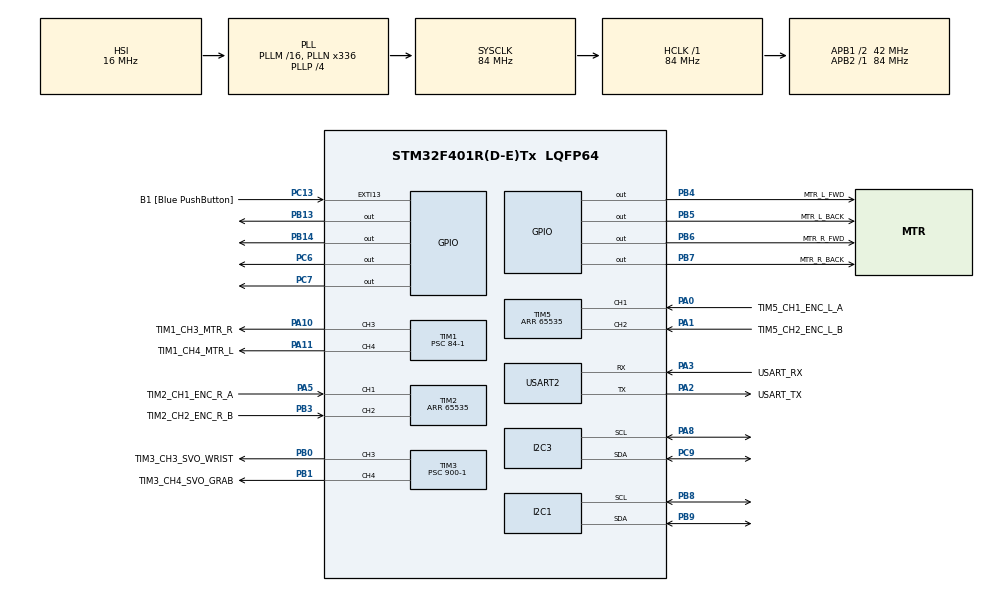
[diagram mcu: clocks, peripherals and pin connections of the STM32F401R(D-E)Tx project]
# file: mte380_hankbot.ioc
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Mcu.Family=STM32F4
Mcu.Name=STM32F401R(D-E)Tx
Mcu.Package=LQFP64
NVIC.PriorityGroup=NVIC_PRIORITYGROUP_0
PA0-WKUP.GPIO_Label=TIM5_CH1_ENC_L_A
PA0-WKUP.Signal=S_TIM5_CH1
PA1.GPIO_Label=TIM5_CH2_ENC_L_B
PA1.Signal=S_TIM5_CH2
PA10.GPIO_Label=TIM1_CH3_MTR_R
PA10.Signal=S_TIM1_CH3
PA11.GPIO_Label=TIM1_CH4_MTR_L
PA11.Signal=S_TIM1_CH4
PA13.GPIO_Label=TMS
PA13.Mode=Serial_Wire
PA13.Signal=SYS_JTMS-SWDIO
PA14.GPIO_Label=TCK
PA14.Mode=Serial_Wire
PA14.Signal=SYS_JTCK-SWCLK
PA2.GPIO_Label=USART_TX
PA2.GPIO_Mode=GPIO_MODE_AF_PP
PA2.GPIO_PuPd=GPIO_NOPULL
PA2.GPIO_Speed=GPIO_SPEED_FREQ_LOW
PA2.Mode=Asynchronous
PA2.Signal=USART2_TX
PA3.GPIO_Label=USART_RX
PA3.GPIO_Mode=GPIO_MODE_AF_PP
PA3.GPIO_PuPd=GPIO_NOPULL
PA3.GPIO_Speed=GPIO_SPEED_FREQ_LOW
PA3.Mode=Asynchronous
PA3.Signal=USART2_RX
PA5.GPIO_Label=TIM2_CH1_ENC_R_A
PA5.Signal=S_TIM2_CH1_ETR
PA8.Mode=I2C
PA8.Signal=I2C3_SCL
PB0.GPIO_Label=TIM3_CH3_SVO_WRIST
PB0.GPIO_ModeDefaultPP=GPIO_MODE_AF_PP
PB0.GPIO_PuPd=GPIO_NOPULL
PB0.GPIO_Speed=GPIO_SPEED_FREQ_LOW
PB0.Signal=S_TIM3_CH3
PB1.GPIO_Label=TIM3_CH4_SVO_GRAB
PB1.GPIO_ModeDefaultPP=GPIO_MODE_AF_PP
PB1.GPIO_PuPd=GPIO_NOPULL
PB1.GPIO_Speed=GPIO_SPEED_FREQ_LOW
PB1.Signal=S_TIM3_CH4
PB13.Signal=GPIO_Output
PB14.Signal=GPIO_Output
PB3.GPIO_Label=TIM2_CH2_ENC_R_B
PB3.Signal=S_TIM2_CH2
PB4.GPIO_Label=MTR_L_FWD
PB4.GPIO_PuPd=GPIO_PULLDOWN
PB4.Signal=GPIO_Output
PB5.GPIO_Label=MTR_L_BACK
PB5.GPIO_PuPd=GPIO_PULLDOWN
PB5.Signal=GPIO_Output
PB6.GPIO_Label=MTR_R_FWD
PB6.GPIO_PuPd=GPIO_PULLDOWN
PB6.Signal=GPIO_Output
PB7.GPIO_Label=MTR_R_BACK
PB7.GPIO_PuPd=GPIO_PULLDOWN
PB7.Signal=GPIO_Output
PB8.Mode=I2C
PB8.Signal=I2C1_SCL
PB9.Mode=I2C
PB9.Signal=I2C1_SDA
PC13-ANTI_TAMP.GPIO_Label=B1 [Blue PushButton]
PC13-ANTI_TAMP.GPIO_ModeDefaultEXTI=GPIO_MODE_IT_FALLING
PC13-ANTI_TAMP.GPIO_PuPd=GPIO_NOPULL
PC13-ANTI_TAMP.Signal=GPXTI13
PC14-OSC32_IN.Mode=LSE-External-Oscillator
PC14-OSC32_IN.Signal=RCC_OSC32_IN
PC15-OSC32_OUT.Mode=LSE-External-Oscillator
PC15-OSC32_OUT.Signal=RCC_OSC32_OUT
PC6.Signal=GPIO_Output
PC7.Signal=GPIO_Output
PC9.Mode=I2C
PC9.Signal=I2C3_SDA
PH0\ -\ OSC_IN.Mode=HSE-External-Clock-Source
PH0\ -\ OSC_IN.Signal=RCC_OSC_IN
PH1\ -\ OSC_OUT.Mode=HSE-External-Clock-Source
PH1\ -\ OSC_OUT.Signal=RCC_OSC_OUT
ProjectManager.HeapSize=0x200
ProjectManager.StackSize=0x400
ProjectManager.TargetToolchain=STM32CubeIDE
RCC.48MHZClocksFreq_Value=48000000
RCC.AHBFreq_Value=84000000
RCC.APB1CLKDivider=RCC_HCLK_DIV2
RCC.APB1Freq_Value=42000000
RCC.APB1TimFreq_Value=84000000
RCC.APB2Freq_Value=84000000
RCC.APB2TimFreq_Value=84000000
RCC.CortexFreq_Value=84000000
RCC.HCLKFreq_Value=84000000
RCC.HSE_VALUE=8000000
RCC.HSI_VALUE=16000000
RCC.PLLN=336
RCC.PLLP=RCC_PLLP_DIV4
RCC.PLLQ=7
RCC.SYSCLKFreq_VALUE=84000000
RCC.SYSCLKSource=RCC_SYSCLKSOURCE_PLLCLK
RCC.VCOOutputFreq_Value=336000000
SH.S_TIM1_CH3.0=TIM1_CH3,PWM Generation3 CH3
SH.S_TIM1_CH4.0=TIM1_CH4,PWM Generation4 CH4
SH.S_TIM2_CH1_ETR.0=TIM2_CH1,Encoder_Interface
SH.S_TIM2_CH2.0=TIM2_CH2,Encoder_Interface
SH.S_TIM3_CH3.0=TIM3_CH3,PWM Generation3 CH3
SH.S_TIM3_CH4.0=TIM3_CH4,PWM Generation4 CH4
SH.S_TIM5_CH1.0=TIM5_CH1,Encoder_Interface
SH.S_TIM5_CH2.0=TIM5_CH2,Encoder_Interface
TIM1.Channel-PWM\ Generation3\ CH3=TIM_CHANNEL_3
TIM1.Channel-PWM\ Generation4\ CH4=TIM_CHANNEL_4
TIM1.OCMode_PWM-PWM\ Generation4\ CH4=TIM_OCMODE_PWM1
TIM1.Period=20000
TIM1.Prescaler=84-1
TIM2.AutoReloadPreload=TIM_AUTORELOAD_PRELOAD_ENABLE
TIM2.EncoderMode=TIM_ENCODERMODE_TI12
TIM2.IC1Polarity=TIM_ICPOLARITY_RISING
TIM2.IC2Polarity=TIM_ICPOLARITY_RISING
TIM2.Period=65535
TIM3.Channel-PWM\ Generation3\ CH3=TIM_CHANNEL_3
TIM3.Channel-PWM\ Generation4\ CH4=TIM_CHANNEL_4
TIM3.Period=1000-1
TIM3.Prescaler=900-1
TIM3.Pulse-PWM\ Generation3\ CH3=0
TIM3.Pulse-PWM\ Generation4\ CH4=0
TIM5.AutoReloadPreload=TIM_AUTORELOAD_PRELOAD_ENABLE
TIM5.EncoderMode=TIM_ENCODERMODE_TI12
TIM5.IC1Filter=0
TIM5.Period=65535
USART2.VirtualMode=VM_ASYNC
VP_TIM1_VS_ClockSourceINT.Mode=Internal
board=NUCLEO-F401RE

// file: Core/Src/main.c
/* USER CODE BEGIN Header */
/**
  ******************************************************************************
  * @file           : main.c
  * @brief          : Main program body
  ******************************************************************************
  * @attention
  *
  * Copyright (c) 2023 STMicroelectronics.
  * All rights reserved.
  *
  * This software is licensed under terms that can be found in the LICENSE file
  * in the root directory of this software component.
  * If no LICENSE file comes with this software, it is provided AS-IS.
  *
  ******************************************************************************
  */
/* USER CODE END Header */
#include "main.h"
#include "i2c.h"
#include "tim.h"
#include "usart.h"
#include "gpio.h"

/* USER CODE BEGIN Includes */
#include "math.h"
#include "sparkfun_isl29125.h"
#include "servo.h"
#include "l298n_motor_control.h"
#include "encoder.h"
#include "pid.h"

#include <stdio.h>
#include <string.h>
/* USER CODE END Includes */

/* USER CODE BEGIN PD */
#define CURVATURE_DIST 1.55 // 1.6m
#define BACKING_DIST 0.03 // 0.03m or 3cm
/* USER CODE END PD */

/* USER CODE BEGIN PV */
char OutBuf[50];
/* USER CODE END PV */

void SystemClock_Config(void);

// deg - degrees to point-turn
// dir - 0 is CW, 1 is CCW
// speed - speed of rotation in RPM
void Rotate_degrees(uint16_t deg, uint8_t dir, uint16_t speed)
{
  HAL_GPIO_WritePin(GPIOB, GPIO_PIN_14, GPIO_PIN_SET); // Green LED
  // Store current position
  double initial_pose_L = Encoder_Get_Distance(&htim5);
  double initial_pose_R = Encoder_Get_Distance(&htim2);
  double delta_L = 0.0;
  double delta_R = 0.0;
  uint8_t rotate_L_done = 0;
  uint8_t rotate_R_done = 0;
  double rotate_tick_L = (double)WHEEL_CENTER_DIST * (double)M_PI * ((double)deg/360.0);
  double rotate_tick_R = (double)WHEEL_CENTER_DIST * (double)M_PI * ((double)deg/360.0);
  if (dir) { // CCW
    L298N_Motor_L_Control(&htim1, 1, speed);
    L298N_Motor_R_Control(&htim1, 0, speed);
  } else { // CW
    L298N_Motor_L_Control(&htim1, 0, speed);
    L298N_Motor_R_Control(&htim1, 1, speed);
  }
  do {
    delta_L = Encoder_Get_Distance(&htim5) - initial_pose_L;
    delta_R = Encoder_Get_Distance(&htim2) - initial_pose_R;
    rotate_L_done = fabs(delta_L) >= rotate_tick_L;
    rotate_R_done = fabs(delta_R) >= rotate_tick_R;
    if (rotate_L_done) L298N_Motor_L_Control(&htim1, 1, 0);
    if (rotate_R_done) L298N_Motor_R_Control(&htim1, 0, 0);
  } while(!(rotate_L_done && rotate_R_done));
  L298N_Motors_Stop(&htim1);
  HAL_GPIO_WritePin(GPIOB, GPIO_PIN_14, GPIO_PIN_SET); // Green LED
}

int main(void)
{
  /* USER CODE BEGIN 1 */

  // Sensor Data
  uint16_t color_data_L[3];
  uint16_t color_data_R[3];
  double encoder_dist_r;
  double encoder_dist_l;

  // Robot Data
  uint16_t speed = 0;
  uint16_t turning_speed = 0;
  uint8_t blue_detected_L = 0;
  uint8_t blue_detected_R = 0;
  uint8_t green_detected_L = 0;
  uint8_t green_detected_R = 0;
  uint8_t red_both_detected = 0;

  /* USER CODE END 1 */

  /* MCU Configuration--------------------------------------------------------*/

  /* Reset of all peripherals, Initializes the Flash interface and the Systick. */
  HAL_Init();

  /* Configure the system clock */
  SystemClock_Config();

  /* Initialize all configured peripherals */
  MX_GPIO_Init();
  MX_USART2_UART_Init();
  MX_I2C3_Init();
  MX_TIM3_Init();
  MX_I2C1_Init();
  MX_TIM1_Init();
  MX_TIM2_Init();
  MX_TIM5_Init();
  /* USER CODE BEGIN 2 */

  L298N_Init(&htim1);
  Servo_Init(&htim3);
  Encoder_Init(&htim5); // Left Motor Encoder
  Encoder_Init(&htim2); // Right Motor Encoder
  ISL29125_Init(&hi2c1); // Left RGB Sensor
  ISL29125_Init(&hi2c3); // Right RGB Sensor
  ISL29125_Config(&hi2c1, CFG1_MODE_RGB | CFG1_10KLUX | CFG1_12BIT, CFG2_IR_ADJUST_HIGH, CFG3_NO_INT);
  ISL29125_Config(&hi2c3, CFG1_MODE_RGB | CFG1_10KLUX | CFG1_12BIT, CFG2_IR_ADJUST_HIGH, CFG3_NO_INT);

  // LED Test & Code Execution Countdown
  HAL_GPIO_WritePin(GPIOC, GPIO_PIN_6, GPIO_PIN_SET); // Red LED
  HAL_GPIO_WritePin(GPIOC, GPIO_PIN_7, GPIO_PIN_SET); // Yellow LED
  HAL_GPIO_WritePin(GPIOB, GPIO_PIN_13, GPIO_PIN_SET); // Blue LED
  HAL_GPIO_WritePin(GPIOB, GPIO_PIN_14, GPIO_PIN_SET); // Green LED
  HAL_Delay(1000);
  HAL_GPIO_WritePin(GPIOC, GPIO_PIN_7, GPIO_PIN_RESET); // Yellow LED
  HAL_Delay(1000);
  HAL_GPIO_WritePin(GPIOC, GPIO_PIN_6, GPIO_PIN_RESET); // Red LED
  HAL_Delay(1000);
  HAL_GPIO_WritePin(GPIOB, GPIO_PIN_14, GPIO_PIN_RESET); // Green LED
  HAL_Delay(1000);
  HAL_GPIO_WritePin(GPIOB, GPIO_PIN_13, GPIO_PIN_RESET); // Blue LED

  // TEST: Color Sensor Readings
//  while(1)
//  {
//	  // Update sensor data
//	  color_data_L[0] = ISL29125_ReadRed(&hi2c1);
//	  color_data_L[1] = ISL29125_ReadBlue(&hi2c1);
//	  color_data_L[2] = ISL29125_ReadGreen(&hi2c1);
//	  color_data_R[0] = ISL29125_ReadRed(&hi2c3);
//	  color_data_R[1] = ISL29125_ReadBlue(&hi2c3);
//	  color_data_R[2] = ISL29125_ReadGreen(&hi2c3);
//	// Debug Printout
//	char buf[64];
//	sprintf(buf, "Left | Red: %d, Blue: %d, Green: %d | Right | Red: %d, Blue: %d, Green: %d |\r\n",
//	   color_data_L[0], color_data_L[1], color_data_L[2], color_data_R[0], color_data_R[1], color_data_R[2]);
//	HAL_UART_Transmit(&huart2, buf, strlen(buf), HAL_MAX_DELAY);
//  }
//

  // TEST: Turning
//    while(1)
//    {
//      Rotate_degrees(180, 0, 120);
//      HAL_Delay(1000);
//    }

  // *** State 1: Line Following Sequence ***
  while(!(blue_detected_L && blue_detected_R))
  {
    // Update sensor data
    color_data_L[0] = ISL29125_ReadRed(&hi2c1);
    color_data_L[1] = ISL29125_ReadBlue(&hi2c1);
    color_data_L[2] = ISL29125_ReadGreen(&hi2c1);
    color_data_R[0] = ISL29125_ReadRed(&hi2c3);
    color_data_R[1] = ISL29125_ReadBlue(&hi2c3);
    color_data_R[2] = ISL29125_ReadGreen(&hi2c3);
    encoder_dist_r = Encoder_Get_Distance(&htim2);
    encoder_dist_l = Encoder_Get_Distance(&htim5);

    // Check how far across curvature traveled.
    // Slow down at the end, indicated by Yellow LED
    if ((encoder_dist_r + encoder_dist_l)/2 > CURVATURE_DIST) {
      HAL_GPIO_WritePin(GPIOC, GPIO_PIN_7, GPIO_PIN_SET); // Yellow LED
      speed = 65;
      turning_speed = 65;
    } else {
      HAL_GPIO_WritePin(GPIOC, GPIO_PIN_7, GPIO_PIN_RESET); // Yellow LED
      speed = 85;
      turning_speed = 70;
    }

    // Debug Printout for Encoders
//    uint8_t MSG[50] = {'\0'};
//
//    sprintf(MSG, "TIM2 (Right) Distance = %f, TIM5 (Left) Distance = %f  | \r\n ", encoder_dist_r, encoder_dist_l);
//    HAL_UART_Transmit(&huart2, MSG, strlen(MSG), HAL_MAX_DELAY); // Print to UART Terminal

    // LEFT SENSOR Blue Bullseye Detection, indicated by Blue LED
    if (145 < color_data_L[1]) // Tigher threshold for left sensor due to bullseye location
    {
      blue_detected_L = 1;
      L298N_Motor_L_Control(&htim1, 0, 0);
      HAL_GPIO_WritePin(GPIOB, GPIO_PIN_13, GPIO_PIN_SET); // Blue LED
    }

    // RIGHT SENSOR Blue Bullseye Detection, indicated by Blue LED
    if (14 < color_data_R[0] && color_data_R[0] < 29
     && 60 < color_data_R[1] && color_data_R[1] < 90
     && 50 < color_data_R[2] && color_data_R[2] < 81)
    {
      blue_detected_R = 1;
      L298N_Motor_R_Control(&htim1, 0, 0);
      HAL_GPIO_WritePin(GPIOB, GPIO_PIN_13, GPIO_PIN_SET); // Blue LED
    }

    // Line Following, indicated by Red LED
    // LEFT SENSOR Red Tape Detection Experiemental Data, 12Bit Data:
    if (18 < color_data_L[0] && color_data_L[0] < 35  // Red: 18-35
     && 12 < color_data_L[1] && color_data_L[1] < 30  // Blue: 12-30
     && 14 < color_data_L[2] && color_data_L[2] < 45) // Green: 14-45
    {
      HAL_GPIO_WritePin(GPIOC, GPIO_PIN_6, GPIO_PIN_SET); // Red LED
      if(!blue_detected_L) L298N_Motor_L_Control(&htim1, 1, turning_speed-5);
      if(!blue_detected_R) L298N_Motor_R_Control(&htim1, 0, turning_speed);
    }
    // RIGHT SENSOR Red Tape Experiemental Detection Data, 12Bit Data:
    else if (32 < color_data_R[0] && color_data_R[0] < 54  // Red: 32-58
            && 16 < color_data_R[1] && color_data_R[1] < 45  // Blue: 16-50
            && 22 < color_data_R[2] && color_data_R[2] < 58) // Green: 22-70
    {
      HAL_GPIO_WritePin(GPIOC, GPIO_PIN_6, GPIO_PIN_SET); // Red LED
      if(!blue_detected_L) L298N_Motor_L_Control(&htim1, 0, turning_speed);
      if(!blue_detected_R) L298N_Motor_R_Control(&htim1, 1, turning_speed-5);
    }
    else {
      HAL_GPIO_WritePin(GPIOC, GPIO_PIN_6, GPIO_PIN_RESET); // Red LED
      if(!blue_detected_L) L298N_Motor_L_Control(&htim1, 0, speed);
      if(!blue_detected_R) L298N_Motor_R_Control(&htim1, 0, speed);
    }

    // Debug Printout for Color Sensors
//     char buf[64];
//     sprintf(buf, "Left | Red: %d, Blue: %d, Green: %d | Right | Red: %d, Blue: %d, Green: %d |\r\n",
//         color_data_L[0], color_data_L[1], color_data_L[2], color_data_R[0], color_data_R[1], color_data_R[2]);
//     HAL_UART_Transmit(&huart2, buf, strlen(buf), HAL_MAX_DELAY);

  }
  HAL_GPIO_WritePin(GPIOB, GPIO_PIN_13, GPIO_PIN_RESET); // Blue LED
  HAL_GPIO_WritePin(GPIOC, GPIO_PIN_7, GPIO_PIN_RESET); // Yellow LED

  // *** State 2-1: Pick up Sequence - Move out of bullseye ***
  speed = 70;
  L298N_Motor_L_Control(&htim1, 1, speed);
  L298N_Motor_R_Control(&htim1, 1, speed);
  // Start indicated by Green LED
  HAL_GPIO_WritePin(GPIOB, GPIO_PIN_14, GPIO_PIN_SET); // Green LED
  // Store current position
  double curr_pos = (Encoder_Get_Distance(&htim2) + Encoder_Get_Distance(&htim5))/2;
  double delta = 0.0;
  // Drive backwards for (BACKING_DIST) [m]
  while(delta < BACKING_DIST) {
    encoder_dist_r = Encoder_Get_Distance(&htim2);
    encoder_dist_l = Encoder_Get_Distance(&htim5);
    delta = curr_pos - (encoder_dist_r + encoder_dist_l)/2;
    L298N_Motor_L_Control(&htim1, 1, speed);
    L298N_Motor_R_Control(&htim1, 1, speed);
  }
  // Stop Motors
  L298N_Motors_Stop(&htim1);
  HAL_GPIO_WritePin(GPIOB, GPIO_PIN_14, GPIO_PIN_RESET); // Green LED

  // *** State 2-2: Pick up Sequence - Pick up Lego Man ***
  Servo_Claw_Open(&htim3);
  Servo_Wrist_Down(&htim3);
  HAL_Delay(100);
  Servo_Claw_Close(&htim3);
  HAL_Delay(400);
  Servo_Wrist_Up(&htim3);
  HAL_Delay(100);

  // *** State 3-1: Delivery Sequence - Rotate Robot in pre-determined path ***
  encoder_dist_r = Encoder_Get_Distance(&htim2);
  double backupTravel = 0;
  double backupDistance = 0.14;
  while(backupTravel < backupDistance)
  {
	  L298N_Motor_R_Control(&htim1, 1, 100);
	  L298N_Motor_L_Control(&htim1, 1, 100);
	  backupTravel = encoder_dist_r - Encoder_Get_Distance(&htim2);
  }
  L298N_Motors_Stop(&htim1);

  HAL_Delay(100);
  Rotate_degrees(40, 1, 100);

  // *** State 3-2: Delivery Sequence - Drive Straight until Green ***
  speed = 70;
  L298N_Motor_R_Control(&htim1, 0, speed);
  L298N_Motor_L_Control(&htim1, 0, speed);
  while(!(green_detected_L && green_detected_R))
  {
    // Update Color Sensors
    color_data_L[0] = ISL29125_ReadRed(&hi2c1);
    color_data_L[1] = ISL29125_ReadBlue(&hi2c1);
    color_data_L[2] = ISL29125_ReadGreen(&hi2c1);
    color_data_R[0] = ISL29125_ReadRed(&hi2c3);
    color_data_R[1] = ISL29125_ReadBlue(&hi2c3);
    color_data_R[2] = ISL29125_ReadGreen(&hi2c3);
    //Left Green Detection
    if(4 < color_data_L[0] && color_data_L[0] < 21 && // left red range is 5-20
      16 < color_data_L[1] && color_data_L[1] < 37 && // left blue range is 17-36
      17 < color_data_L[2] && color_data_L[2] < 41) // left green range is 18-40
    {
      L298N_Motor_L_Control(&htim1, 1, 0);
      green_detected_L = 1;
      HAL_GPIO_WritePin(GPIOB, GPIO_PIN_14, GPIO_PIN_SET); // Green LED
    }
    //Right Green Detection
    if(7 < color_data_R[0] && color_data_R[0] < 27 && // right red range is 8-26
      20 < color_data_R[1] && color_data_R[1] < 32 && //  right blue range is 21-31
      24 < color_data_R[2] && color_data_R[2] < 45) // right green range is 25-43
    {
      L298N_Motor_R_Control(&htim1, 1, 0);
      green_detected_R = 1;
      HAL_GPIO_WritePin(GPIOB, GPIO_PIN_14, GPIO_PIN_SET); // Green LED
    }
  }
  HAL_GPIO_WritePin(GPIOB, GPIO_PIN_14, GPIO_PIN_RESET); // Green LED

  // *** State 3-3: Delivery Sequence - Move backwards by Pre-determined Distance ***
  L298N_Motor_R_Control(&htim1, 1, 100);
  L298N_Motor_L_Control(&htim1, 1, 100);
  HAL_Delay(500);
  L298N_Motor_R_Control(&htim1, 1, 0);
  L298N_Motor_L_Control(&htim1, 1, 0);

  // *** State 3-4: Delivery Sequence - Unload Lego Man ***
  Servo_Wrist_Down(&htim3);
  Servo_Claw_Open(&htim3);
  HAL_Delay(500);
  Servo_Wrist_Up(&htim3);

  // *** State 4-1: Return Sequence - Move backwards & Rotate 180 ***
  L298N_Motor_R_Control(&htim1, 1, 70);
  L298N_Motor_L_Control(&htim1, 1, 70);
  HAL_Delay(500);
  Rotate_degrees(170, 0, 120);

  // *** State 4-2: Return Sequence - Line Following ***
  speed = 70;
  turning_speed = 80;
  red_both_detected = 0;
  double initialTravel = Encoder_Get_Distance(&htim2);
  double currentTravel = 0;
  double minDistanceTraveled = 1.0;
  uint8_t first_left_red_detect = 0;

  while(!red_both_detected)
  {
    // Update sensor data
    color_data_L[0] = ISL29125_ReadRed(&hi2c1);
    color_data_L[1] = ISL29125_ReadBlue(&hi2c1);
    color_data_L[2] = ISL29125_ReadGreen(&hi2c1);
    color_data_R[0] = ISL29125_ReadRed(&hi2c3);
    color_data_R[1] = ISL29125_ReadBlue(&hi2c3);
    color_data_R[2] = ISL29125_ReadGreen(&hi2c3);
    encoder_dist_r = Encoder_Get_Distance(&htim2);
    encoder_dist_l = Encoder_Get_Distance(&htim5);

    currentTravel = Encoder_Get_Distance(&htim2) - initialTravel;

    switch (first_left_red_detect) {
      case 0:
        speed = 60;
        break;
      case 1:
        speed = 50;
        break;
      case 2:
        speed = 50;
        break;
      case 3:
        speed = 70;
      default:
        break;
    }

    if (18 < color_data_L[0] && color_data_L[0] < 35
     && 12 < color_data_L[1] && color_data_L[1] < 30
     && 14 < color_data_L[2] && color_data_L[2] < 45
     && 32 < color_data_R[0] && color_data_R[0] < 58
     && 16 < color_data_R[1] && color_data_R[1] < 50
     && 22 < color_data_R[2] && color_data_R[2] < 70
     && currentTravel > minDistanceTraveled)
    {
    	red_both_detected = 1;
    	break;
    }

    // Line Following, indicated by Red LED
    // LEFT SENSOR Red Tape Detection Experiemental Data, 12Bit Data:
    if (18 < color_data_L[0] && color_data_L[0] < 35  // Red: 18-35
     && 12 < color_data_L[1] && color_data_L[1] < 30  // Blue: 12-30
     && 14 < color_data_L[2] && color_data_L[2] < 45) // Green: 14-45
    {
      if (first_left_red_detect == 0)
        first_left_red_detect = 1;
      else if (first_left_red_detect > 1) {
        HAL_GPIO_WritePin(GPIOC, GPIO_PIN_6, GPIO_PIN_SET); // Red LED
        L298N_Motor_L_Control(&htim1, 1, 70);
        L298N_Motor_R_Control(&htim1, 0, turning_speed);
      }
    }
    // RIGHT SENSOR Red Tape Experiemental Detection Data, 12Bit Data:
    else if (32 < color_data_R[0] && color_data_R[0] < 48  // Red: 32-58
          && 16 < color_data_R[1] && color_data_R[1] < 40  // Blue: 16-50
          && 22 < color_data_R[2] && color_data_R[2] < 48) // Green: 22-70
    {
      if (first_left_red_detect == 2)
        first_left_red_detect = 3;
      HAL_GPIO_WritePin(GPIOC, GPIO_PIN_7, GPIO_PIN_SET); // Yellow LED
      L298N_Motor_L_Control(&htim1, 0, turning_speed);
      L298N_Motor_R_Control(&htim1, 1, 70);
    }
    else
    {
      if (first_left_red_detect == 1)
        first_left_red_detect = 2;
      HAL_GPIO_WritePin(GPIOC, GPIO_PIN_6, GPIO_PIN_RESET); // Red LED
      HAL_GPIO_WritePin(GPIOC, GPIO_PIN_7, GPIO_PIN_RESET); // Yellow LED
      L298N_Motor_L_Control(&htim1, 0, speed);
      L298N_Motor_R_Control(&htim1, 0, speed);
    }
  }

  L298N_Motors_Stop(&htim1);

  /* USER CODE END 2 */

  /* Infinite loop */
  /* USER CODE BEGIN WHILE */
  while (1)
  {
      HAL_GPIO_WritePin(GPIOC, GPIO_PIN_6, GPIO_PIN_SET); // Red LED
      HAL_GPIO_WritePin(GPIOC, GPIO_PIN_7, GPIO_PIN_SET); // Yellow LED
      HAL_GPIO_WritePin(GPIOB, GPIO_PIN_13, GPIO_PIN_SET); // Blue LED
      HAL_GPIO_WritePin(GPIOB, GPIO_PIN_14, GPIO_PIN_SET); // Green LED
      HAL_Delay(400);
      HAL_GPIO_WritePin(GPIOC, GPIO_PIN_6, GPIO_PIN_RESET); // Red LED
      HAL_GPIO_WritePin(GPIOC, GPIO_PIN_7, GPIO_PIN_RESET); // Yellow LED
      HAL_GPIO_WritePin(GPIOB, GPIO_PIN_13, GPIO_PIN_RESET); // Blue LED
      HAL_GPIO_WritePin(GPIOB, GPIO_PIN_14, GPIO_PIN_RESET); // Green LED
      HAL_Delay(400);
    /* USER CODE END WHILE */

  }
}

void SystemClock_Config(void)
{
  RCC_OscInitTypeDef RCC_OscInitStruct = {0};
  RCC_ClkInitTypeDef RCC_ClkInitStruct = {0};

  /** Configure the main internal regulator output voltage
  */
  __HAL_RCC_PWR_CLK_ENABLE();
  __HAL_PWR_VOLTAGESCALING_CONFIG(PWR_REGULATOR_VOLTAGE_SCALE2);

  /** Initializes the RCC Oscillators according to the specified parameters
  * in the RCC_OscInitTypeDef structure.
  */
  RCC_OscInitStruct.OscillatorType = RCC_OSCILLATORTYPE_HSI;
  RCC_OscInitStruct.HSIState = RCC_HSI_ON;
  RCC_OscInitStruct.HSICalibrationValue = RCC_HSICALIBRATION_DEFAULT;
  RCC_OscInitStruct.PLL.PLLState = RCC_PLL_ON;
  RCC_OscInitStruct.PLL.PLLSource = RCC_PLLSOURCE_HSI;
  RCC_OscInitStruct.PLL.PLLM = 16;
  RCC_OscInitStruct.PLL.PLLN = 336;
  RCC_OscInitStruct.PLL.PLLP = RCC_PLLP_DIV4;
  RCC_OscInitStruct.PLL.PLLQ = 7;
  if (HAL_RCC_OscConfig(&RCC_OscInitStruct) != HAL_OK)
  {
    Error_Handler();
  }

  /** Initializes the CPU, AHB and APB buses clocks
  */
  RCC_ClkInitStruct.ClockType = RCC_CLOCKTYPE_HCLK|RCC_CLOCKTYPE_SYSCLK
                              |RCC_CLOCKTYPE_PCLK1|RCC_CLOCKTYPE_PCLK2;
  RCC_ClkInitStruct.SYSCLKSource = RCC_SYSCLKSOURCE_PLLCLK;
  RCC_ClkInitStruct.AHBCLKDivider = RCC_SYSCLK_DIV1;
  RCC_ClkInitStruct.APB1CLKDivider = RCC_HCLK_DIV2;
  RCC_ClkInitStruct.APB2CLKDivider = RCC_HCLK_DIV1;

  if (HAL_RCC_ClockConfig(&RCC_ClkInitStruct, FLASH_LATENCY_2) != HAL_OK)
  {
    Error_Handler();
  }
}

void Error_Handler(void)
{
  __disable_irq();
  while (1)
  {
  }
}
